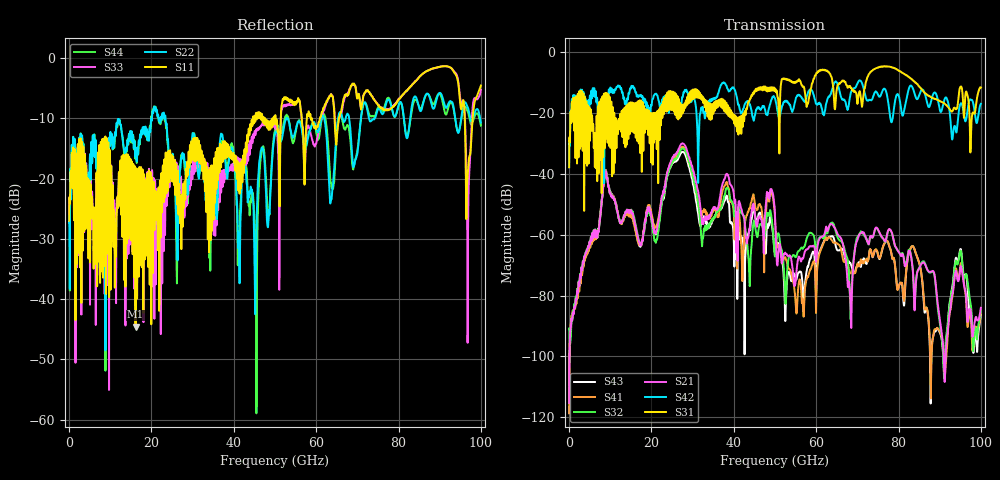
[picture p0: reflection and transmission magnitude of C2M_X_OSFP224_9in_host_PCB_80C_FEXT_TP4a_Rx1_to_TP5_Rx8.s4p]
# GHz S RI R 45
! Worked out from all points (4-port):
!   4000 points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, 25 MHz to 100 GHz, reference 45 ohm
!   strongest paths, dB at 25 MHz, 25.02 GHz, 50.02 GHz, 75.03 GHz, 100 GHz:
!     S31: -37.8, -15.4, -12.1, -5.0, -11.6
!     S42: -37.8, -15.1, -15.2, -14.0, -17.0
!     S21: -115.3, -35.1, -54.1, -58.3, -84.0
!     S32: -90.8, -36.4, -67.1, -58.5, -85.1
!     S41: -118.7, -35.3, -54.9, -66.6, -85.7
!     S43: -109.3, -36.7, -66.4, -66.8, -86.3
!   lowest |S11| = -44.6 dB at 16.15 GHz (marker M1), VSWR 1.01, Z = 44.5 - j0.054 ohm
!   |S11| at or under -10 dB: start of sweep to 44.63 GHz; 58.96 GHz to 60.91 GHz (1.943 GHz wide, 3.24 % of centre); 96.08 GHz to 98 GHz (1.928 GHz wide, 1.99 % of centre)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
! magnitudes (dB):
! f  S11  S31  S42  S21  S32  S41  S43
! 25 MHz  -27.0  -37.8  -37.8  -115.3  -90.8  -118.7  -109.3
! 8.875 GHz  -13.8  -13.8  -23.3  -39.8  -39.8  -39.5  -39.4
! 16.15 GHz  -44.6  -22.1  -13.2  -57.1  -56.4  -58.9  -58.2
! 27.6 GHz  -28.0  -19.8  -14.8  -30.0  -31.7  -31.1  -32.7
! 32.45 GHz  -16.4  -14.6  -18.1  -55.9  -60.9  -52.2  -54.5
! 55.12 GHz  -7.6  -9.7  -14.9  -73.4  -67.3  -85.2  -74.8
! 100 GHz  -4.6  -11.6  -17.0  -84.0  -85.1  -85.7  -86.3
